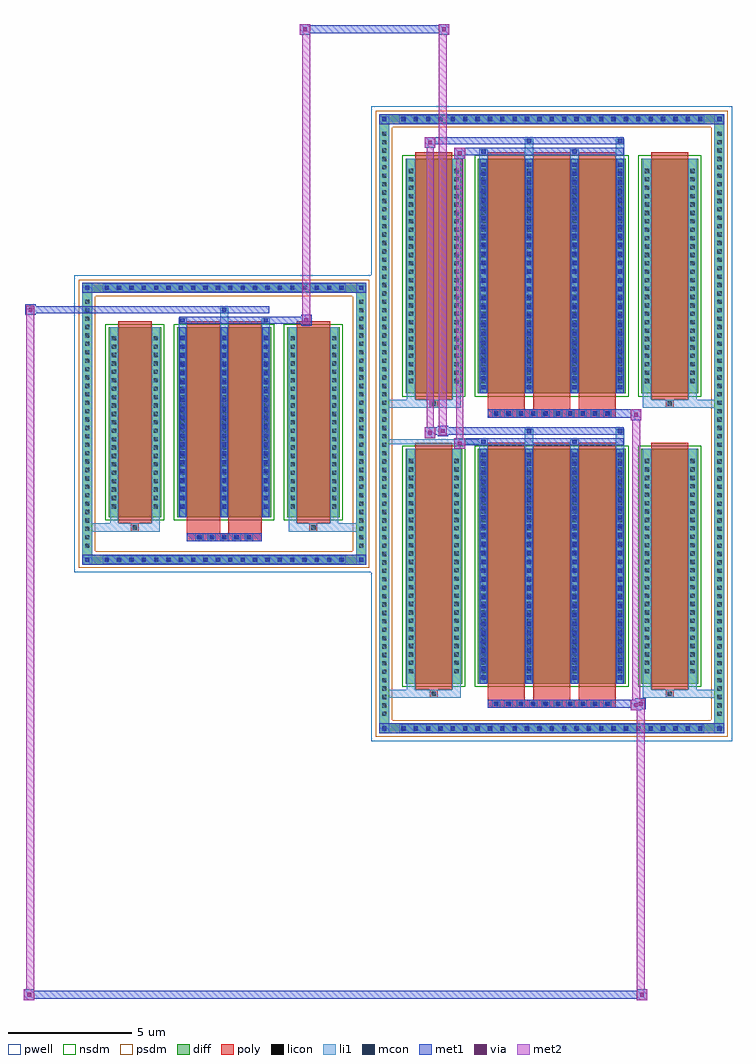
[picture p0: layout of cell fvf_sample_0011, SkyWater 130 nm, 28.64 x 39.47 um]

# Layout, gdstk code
import gdstk
lib = gdstk.Library(unit=1e-6, precision=1e-09)
def R(c, l, rs):  # rectangles x0, y0, x1, y1
    for r in rs: c.add(gdstk.rectangle(r[:2], r[2:], *l))
def A(c, l, x, y, w, h, nx, ny, dx, dy):  # array of equal rectangles
    R(c, l, [(x+i*dx, y+j*dy, x+i*dx+w, y+j*dy+h) for i in range(nx) for j in range(ny)])
def P(c, l, *ps):  # polygons
    for p in ps: c.add(gdstk.Polygon(p, *l))
pwell = (64, 44)
diff = (65, 20)
poly = (66, 20)
licon = (66, 44)
li1 = (67, 20)
mcon = (67, 44)
met1 = (68, 20)
via = (68, 44)
met2 = (69, 20)
nsdm = (93, 44)
psdm = (94, 20)

fvf_sample_0011 = lib.new_cell('fvf_sample_0011')
R(fvf_sample_0011, pwell, [(5.955,-12.836,20.545,12.836), (-6.055,-6.01,6.055,6.01)])
A(fvf_sample_0011, diff, 7.045, -12.526, 0.41, 0.41, 25, 2, 0.5, 24.642)
A(fvf_sample_0011, diff, 6.265, -11.935, 0.41, 0.41, 1, 70, 0, 0.34)
A(fvf_sample_0011, diff, 19.825, -11.935, 0.41, 0.41, 1, 70, 0, 0.34)
A(fvf_sample_0011, diff, -4.955, -5.7, 0.41, 0.41, 20, 2, 0.5, 10.99)
A(fvf_sample_0011, diff, -5.745, -5.135, 0.41, 0.41, 1, 30, 0, 0.34)
A(fvf_sample_0011, diff, 5.335, -5.135, 0.41, 0.41, 1, 30, 0, 0.34)
R(fvf_sample_0011, diff, [(7.045,-12.526,19.455,-12.116), (6.265,-11.935,6.675,11.935), (19.825,-11.935,20.235,11.935), (7.335,-10.505,9.625,-1.015), (10.265,-10.505,16.235,-1.015), (16.875,-10.505,19.165,-1.015), (-4.955,-5.7,4.955,-5.29), (-5.745,-5.135,-5.335,5.135), (5.335,-5.135,5.745,5.135), (-4.675,-3.778,-2.545,3.894), (-1.905,-3.778,1.905,3.894), (2.545,-3.778,4.675,3.894), (7.335,1.231,9.625,10.721), (10.265,1.231,16.235,10.721), (16.875,1.231,19.165,10.721), (-4.955,5.29,4.955,5.7), (7.045,12.116,19.455,12.526)])
P(fvf_sample_0011, diff, [(5.745,5.7),(-5.745,5.7),(-5.745,-5.29),(-5.335,-5.29),(-5.335,5.29),(5.335,5.29),(5.335,-5.29),(-5.335,-5.29),(-5.745,-5.29),(-5.745,-5.7),(5.745,-5.7)],
  [(20.235,12.526),(6.265,12.526),(6.265,-12.116),(6.675,-12.116),(6.675,12.116),(19.825,12.116),(19.825,-12.116),(6.675,-12.116),(6.265,-12.116),(6.265,-12.526),(20.235,-12.526)])
A(fvf_sample_0011, poly, 10.835, -11.486, 0.33, 0.33, 10, 2, 0.5, 11.736)
A(fvf_sample_0011, poly, 10.655, -11.156, 1.51, 0.401, 3, 2, 1.84, 11.736)
A(fvf_sample_0011, poly, 10.655, -10.755, 1.51, 9.99, 3, 2, 1.84, 11.736)
A(fvf_sample_0011, poly, -1.165, -4.76, 0.33, 0.33, 5, 1, 0.5, 0)
R(fvf_sample_0011, poly, [(10.655,-11.486,15.845,-11.156), (8.315,-11.085,8.645,-10.755), (8.315,-11.085,8.645,-10.755), (17.855,-11.085,18.185,-10.755), (17.855,-11.085,18.185,-10.755), (7.725,-10.755,9.235,-0.765), (17.265,-10.755,18.775,-0.765), (-1.515,-4.76,1.515,-4.43), (-1.515,-4.43,-0.165,-4.028), (0.165,-4.43,1.515,-4.028), (-3.775,-4.358,-3.445,-4.028), (-3.775,-4.358,-3.445,-4.028), (3.445,-4.358,3.775,-4.028), (3.445,-4.358,3.775,-4.028), (-4.285,-4.028,-2.935,4.144), (-1.515,-4.028,-0.165,4.144), (0.165,-4.028,1.515,4.144), (2.935,-4.028,4.285,4.144), (10.655,0.25,15.845,0.58), (8.315,0.651,8.645,0.981), (8.315,0.651,8.645,0.981), (17.855,0.651,18.185,0.981), (17.855,0.651,18.185,0.981), (7.725,0.981,9.235,10.971), (17.265,0.981,18.775,10.971)])
A(fvf_sample_0011, licon, 7.165, -12.406, 0.17, 0.17, 25, 2, 0.5, 24.642)
A(fvf_sample_0011, licon, 6.385, -11.815, 0.17, 0.17, 1, 70, 0, 0.34)
A(fvf_sample_0011, licon, 19.945, -11.815, 0.17, 0.17, 1, 70, 0, 0.34)
A(fvf_sample_0011, licon, 10.915, -11.406, 0.17, 0.17, 10, 2, 0.5, 11.736)
A(fvf_sample_0011, licon, 7.475, -10.095, 0.17, 0.17, 1, 26, 0, 0.34)
A(fvf_sample_0011, licon, 9.315, -10.095, 0.17, 0.17, 1, 26, 0, 0.34)
A(fvf_sample_0011, licon, 10.405, -10.095, 0.17, 0.17, 4, 26, 1.84, 0.34)
A(fvf_sample_0011, licon, 17.015, -10.095, 0.17, 0.17, 1, 26, 0, 0.34)
A(fvf_sample_0011, licon, 18.855, -10.095, 0.17, 0.17, 1, 26, 0, 0.34)
A(fvf_sample_0011, licon, -4.835, -5.58, 0.17, 0.17, 20, 2, 0.5, 10.99)
A(fvf_sample_0011, licon, -5.625, -5.015, 0.17, 0.17, 1, 30, 0, 0.34)
A(fvf_sample_0011, licon, 5.455, -5.015, 0.17, 0.17, 1, 30, 0, 0.34)
A(fvf_sample_0011, licon, -1.085, -4.68, 0.17, 0.17, 5, 1, 0.5, 0)
A(fvf_sample_0011, licon, -4.535, -3.427, 0.17, 0.17, 1, 21, 0, 0.34)
A(fvf_sample_0011, licon, -2.855, -3.427, 0.17, 0.17, 1, 21, 0, 0.34)
A(fvf_sample_0011, licon, -1.765, -3.427, 0.17, 0.17, 3, 21, 1.68, 0.34)
A(fvf_sample_0011, licon, 2.685, -3.427, 0.17, 0.17, 1, 21, 0, 0.34)
A(fvf_sample_0011, licon, 4.365, -3.427, 0.17, 0.17, 1, 21, 0, 0.34)
A(fvf_sample_0011, licon, 7.475, 1.641, 0.17, 0.17, 1, 26, 0, 0.34)
A(fvf_sample_0011, licon, 9.315, 1.641, 0.17, 0.17, 1, 26, 0, 0.34)
A(fvf_sample_0011, licon, 10.405, 1.641, 0.17, 0.17, 4, 26, 1.84, 0.34)
A(fvf_sample_0011, licon, 17.015, 1.641, 0.17, 0.17, 1, 26, 0, 0.34)
A(fvf_sample_0011, licon, 18.855, 1.641, 0.17, 0.17, 1, 26, 0, 0.34)
R(fvf_sample_0011, licon, [(8.395,-11.005,8.565,-10.835), (17.935,-11.005,18.105,-10.835), (-3.695,-4.278,-3.525,-4.108), (3.525,-4.278,3.695,-4.108), (8.395,0.731,8.565,0.901), (17.935,0.731,18.105,0.901)])
A(fvf_sample_0011, li1, 7.085, -12.486, 0.33, 0.33, 25, 2, 0.5, 24.642)
A(fvf_sample_0011, li1, 6.305, -11.895, 0.33, 0.33, 1, 70, 0, 0.34)
A(fvf_sample_0011, li1, 19.865, -11.895, 0.33, 0.33, 1, 70, 0, 0.34)
A(fvf_sample_0011, li1, 10.835, -11.486, 0.33, 0.33, 10, 2, 0.5, 11.736)
A(fvf_sample_0011, li1, 10.325, -10.505, 0.33, 9.49, 4, 2, 1.84, 11.736)
A(fvf_sample_0011, li1, 10.405, -10.345, 0.17, 0.17, 4, 26, 1.84, 0.36)
A(fvf_sample_0011, li1, 10.405, -10.345, 0.17, 9.17, 4, 2, 1.84, 11.736)
A(fvf_sample_0011, li1, 7.395, -10.175, 0.33, 0.33, 1, 26, 0, 0.34)
A(fvf_sample_0011, li1, 9.235, -10.175, 0.33, 0.33, 1, 26, 0, 0.34)
A(fvf_sample_0011, li1, 10.325, -10.175, 0.33, 0.33, 4, 26, 1.84, 0.34)
A(fvf_sample_0011, li1, 16.935, -10.175, 0.33, 0.33, 1, 26, 0, 0.34)
A(fvf_sample_0011, li1, 18.775, -10.175, 0.33, 0.33, 1, 26, 0, 0.34)
A(fvf_sample_0011, li1, -4.915, -5.66, 0.33, 0.33, 20, 2, 0.5, 10.99)
A(fvf_sample_0011, li1, -5.705, -5.095, 0.33, 0.33, 1, 30, 0, 0.34)
A(fvf_sample_0011, li1, 5.375, -5.095, 0.33, 0.33, 1, 30, 0, 0.34)
A(fvf_sample_0011, li1, -1.165, -4.76, 0.33, 0.33, 5, 1, 0.5, 0)
A(fvf_sample_0011, li1, -1.845, -3.778, 0.33, 7.672, 3, 1, 1.68, 0)
A(fvf_sample_0011, li1, -4.615, -3.507, 0.33, 0.33, 1, 21, 0, 0.34)
A(fvf_sample_0011, li1, -2.935, -3.507, 0.33, 0.33, 1, 21, 0, 0.34)
A(fvf_sample_0011, li1, -1.845, -3.507, 0.33, 0.33, 3, 21, 1.68, 0.34)
A(fvf_sample_0011, li1, 2.605, -3.507, 0.33, 0.33, 1, 21, 0, 0.34)
A(fvf_sample_0011, li1, 4.285, -3.507, 0.33, 0.33, 1, 21, 0, 0.34)
A(fvf_sample_0011, li1, -1.765, -3.447, 0.17, 0.17, 3, 20, 1.68, 0.36)
A(fvf_sample_0011, li1, -1.765, -3.447, 0.17, 7.01, 3, 1, 1.68, 0)
A(fvf_sample_0011, li1, 10.405, 1.391, 0.17, 0.17, 4, 26, 1.84, 0.36)
A(fvf_sample_0011, li1, 7.395, 1.561, 0.33, 0.33, 1, 26, 0, 0.34)
A(fvf_sample_0011, li1, 9.235, 1.561, 0.33, 0.33, 1, 26, 0, 0.34)
A(fvf_sample_0011, li1, 10.325, 1.561, 0.33, 0.33, 4, 26, 1.84, 0.34)
A(fvf_sample_0011, li1, 16.935, 1.561, 0.33, 0.33, 1, 26, 0, 0.34)
A(fvf_sample_0011, li1, 18.775, 1.561, 0.33, 0.33, 1, 26, 0, 0.34)
R(fvf_sample_0011, li1, [(6.265,-12.526,6.675,-12.116), (19.825,-12.526,20.235,-12.116), (7.085,-12.486,19.415,-12.156), (6.385,-12.406,6.555,-12.236), (6.385,-12.406,6.555,-12.236), (19.945,-12.406,20.115,-12.236), (19.945,-12.406,20.115,-12.236), (6.265,-12.116,6.675,12.116), (19.825,-12.116,20.235,12.116), (6.265,-11.085,8.315,-10.755), (7.395,-11.085,7.725,-10.505), (7.395,-11.085,8.315,-10.755), (8.315,-11.085,8.645,-10.755), (8.645,-11.085,9.565,-10.755), (9.235,-11.085,9.565,-10.505), (16.935,-11.085,17.265,-10.505), (16.935,-11.085,17.855,-10.755), (17.855,-11.085,18.185,-10.755), (17.855,-11.085,20.235,-10.755), (18.185,-11.085,19.105,-10.755), (18.775,-11.085,19.105,-10.505), (7.395,-10.505,7.725,-1.015), (9.235,-10.505,9.565,-1.015), (16.935,-10.505,17.265,-1.015), (18.775,-10.505,19.105,-1.015), (-5.745,-5.7,-5.335,-5.29), (5.335,-5.7,5.745,-5.29), (-4.915,-5.66,4.915,-5.33), (-5.625,-5.58,-5.455,-5.41), (-5.625,-5.58,-5.455,-5.41), (5.455,-5.58,5.625,-5.41), (5.455,-5.58,5.625,-5.41), (-5.745,-5.29,-5.335,5.29), (5.335,-5.29,5.745,5.29), (-5.745,-4.358,-3.775,-4.028), (-4.615,-4.358,-3.775,-4.028), (-4.615,-4.358,-4.285,-3.778), (-3.775,-4.358,-3.445,-4.028), (-3.445,-4.358,-2.605,-4.028), (-2.935,-4.358,-2.605,-3.778), (2.605,-4.358,3.445,-4.028), (2.605,-4.358,2.935,-3.778), (3.445,-4.358,3.775,-4.028), (3.445,-4.358,5.745,-4.028), (3.775,-4.358,4.615,-4.028), (4.285,-4.358,4.615,-3.778), (-4.615,-3.778,-4.285,3.894), (-2.935,-3.778,-2.605,3.894), (2.605,-3.778,2.935,3.894), (4.285,-3.778,4.615,3.894), (10.325,-1.015,10.655,-0.64), (12.165,-1.015,12.495,-0.21), (14.005,-1.015,14.335,-0.64), (15.845,-1.015,16.175,-0.21), (10.345,-0.87,10.635,-0.58), (6.265,-0.825,10.345,-0.625), (10.405,-0.81,10.575,-0.64), (10.405,-0.81,10.575,-0.64), (14.085,-0.81,14.255,-0.64), (12.245,-0.38,12.415,-0.21), (15.925,-0.38,16.095,-0.21), (6.265,0.651,8.315,0.981), (7.395,0.651,7.725,1.231), (7.395,0.651,8.315,0.981), (8.315,0.651,8.645,0.981), (8.645,0.651,9.565,0.981), (9.235,0.651,9.565,1.231), (16.935,0.651,17.265,1.231), (16.935,0.651,17.855,0.981), (17.855,0.651,18.185,0.981), (17.855,0.651,20.235,0.981), (18.185,0.651,19.105,0.981), (18.775,0.651,19.105,1.231), (7.395,1.231,7.725,10.721), (9.235,1.231,9.565,10.721), (16.935,1.231,17.265,10.721), (18.775,1.231,19.105,10.721), (-1.845,3.894,-1.515,4.269), (-0.165,3.894,0.165,4.699), (1.515,3.894,1.845,4.269), (-1.765,4.099,-1.595,4.269), (1.595,4.099,1.765,4.269), (-0.085,4.529,0.085,4.699), (-5.745,5.29,-5.335,5.7), (5.335,5.29,5.745,5.7), (-4.915,5.33,4.915,5.66), (-5.625,5.41,-5.455,5.58), (-5.625,5.41,-5.455,5.58), (5.455,5.41,5.625,5.58), (5.455,5.41,5.625,5.58), (10.325,10.721,10.655,11.096), (12.165,10.721,12.495,11.526), (14.005,10.721,14.335,11.096), (15.845,10.721,16.175,11.526), (10.405,10.926,10.575,11.096), (14.085,10.926,14.255,11.096), (12.245,11.356,12.415,11.526), (15.925,11.356,16.095,11.526), (6.265,12.116,6.675,12.526), (19.825,12.116,20.235,12.526), (7.085,12.156,19.415,12.486), (6.385,12.236,6.555,12.406), (6.385,12.236,6.555,12.406), (19.945,12.236,20.115,12.406), (19.945,12.236,20.115,12.406)])
A(fvf_sample_0011, mcon, 7.165, -12.406, 0.17, 0.17, 25, 2, 0.5, 24.642)
A(fvf_sample_0011, mcon, 10.915, -11.406, 0.17, 0.17, 10, 2, 0.5, 11.736)
A(fvf_sample_0011, mcon, 10.405, -10.345, 0.17, 0.17, 4, 26, 1.84, 0.36)
A(fvf_sample_0011, mcon, -4.835, -5.58, 0.17, 0.17, 20, 2, 0.5, 10.99)
A(fvf_sample_0011, mcon, -1.085, -4.68, 0.17, 0.17, 5, 1, 0.5, 0)
A(fvf_sample_0011, mcon, -1.765, -3.447, 0.17, 0.17, 3, 20, 1.68, 0.36)
A(fvf_sample_0011, mcon, 10.405, 1.391, 0.17, 0.17, 4, 26, 1.84, 0.36)
R(fvf_sample_0011, mcon, [(6.385,-12.406,6.555,-12.236), (19.945,-12.406,20.115,-12.236), (-5.625,-5.58,-5.455,-5.41), (5.455,-5.58,5.625,-5.41), (10.405,-0.81,10.575,-0.64), (10.405,-0.81,10.575,-0.64), (14.085,-0.81,14.255,-0.64), (12.245,-0.38,12.415,-0.21), (15.925,-0.38,16.095,-0.21), (-1.765,4.099,-1.595,4.269), (1.595,4.099,1.765,4.269), (-0.085,4.529,0.085,4.699), (-5.625,5.41,-5.455,5.58), (5.455,5.41,5.625,5.58), (10.405,10.926,10.575,11.096), (14.085,10.926,14.255,11.096), (12.245,11.356,12.415,11.526), (15.925,11.356,16.095,11.526), (6.385,12.236,6.555,12.406), (19.945,12.236,20.115,12.406)])
A(fvf_sample_0011, met1, 7.105, -12.466, 0.29, 0.29, 25, 2, 0.5, 24.642)
A(fvf_sample_0011, met1, 10.855, -11.466, 0.29, 0.29, 10, 2, 0.5, 11.736)
A(fvf_sample_0011, met1, 10.345, -10.505, 0.29, 9.49, 4, 2, 1.84, 11.736)
A(fvf_sample_0011, met1, 10.345, -10.405, 0.29, 0.29, 4, 26, 1.84, 0.36)
A(fvf_sample_0011, met1, -4.895, -5.64, 0.29, 0.29, 20, 2, 0.5, 10.99)
A(fvf_sample_0011, met1, -1.145, -4.74, 0.29, 0.29, 5, 1, 0.5, 0)
A(fvf_sample_0011, met1, -1.825, -3.778, 0.29, 7.672, 3, 1, 1.68, 0)
A(fvf_sample_0011, met1, -1.825, -3.507, 0.29, 0.29, 3, 20, 1.68, 0.36)
A(fvf_sample_0011, met1, 10.345, 1.331, 0.29, 0.29, 4, 26, 1.84, 0.36)
R(fvf_sample_0011, met1, [(-8.1,-23.304,-7.67,-22.874), (16.68,-23.304,17.11,-22.874), (-8.1,-23.254,17.11,-22.924), (-8.1,-22.924,-7.67,-22.874), (16.68,-22.924,17.11,-22.874), (6.265,-12.526,6.675,-12.116), (6.265,-12.526,6.675,-12.116), (6.675,-12.526,19.825,-12.116), (19.825,-12.526,20.235,-12.116), (19.825,-12.526,20.235,-12.116), (6.325,-12.466,6.615,-12.176), (19.885,-12.466,20.175,-12.176), (16.445,-11.586,16.875,-11.156), (16.63,-11.536,17.06,-11.106), (10.655,-11.486,15.845,-11.156), (15.845,-11.486,16.63,-11.156), (15.845,-11.486,16.875,-11.156), (-5.745,-5.7,-5.335,-5.29), (-5.745,-5.7,-5.335,-5.29), (-5.335,-5.7,5.335,-5.29), (5.335,-5.7,5.745,-5.29), (5.335,-5.7,5.745,-5.29), (-5.685,-5.64,-5.395,-5.35), (5.395,-5.64,5.685,-5.35), (-1.515,-4.76,1.515,-4.43), (9.315,-1.01,9.745,-0.58), (9.315,-0.87,10.345,-0.58), (10.345,-0.87,10.635,-0.58), (10.345,-0.87,10.635,-0.58), (10.345,-0.87,16.155,-0.58), (14.025,-0.87,14.315,-0.58), (8.115,-0.58,8.545,-0.15), (8.63,-0.51,9.06,-0.08), (8.115,-0.44,10.345,-0.15), (9.06,-0.44,10.345,-0.15), (10.345,-0.44,16.155,-0.15), (12.185,-0.44,12.475,-0.15), (15.865,-0.44,16.155,-0.15), (16.445,0.15,16.875,0.58), (10.655,0.25,15.845,0.58), (15.845,0.25,16.875,0.58), (3.11,3.969,3.54,4.399), (-1.825,4.039,-1.535,4.329), (-1.825,4.039,1.825,4.329), (1.535,4.039,1.825,4.329), (1.825,4.039,3.11,4.329), (-8.05,4.399,-7.62,4.829), (-7.62,4.469,-1.825,4.759), (-1.825,4.469,1.825,4.759), (-0.145,4.469,0.145,4.759), (-5.745,5.29,-5.335,5.7), (-5.745,5.29,-5.335,5.7), (-5.335,5.29,5.335,5.7), (5.335,5.29,5.745,5.7), (5.335,5.29,5.745,5.7), (-5.685,5.35,-5.395,5.64), (5.395,5.35,5.685,5.64), (9.315,10.726,9.745,11.156), (9.315,10.866,10.345,11.156), (10.345,10.866,10.635,11.156), (10.345,10.866,16.155,11.156), (14.025,10.866,14.315,11.156), (8.115,11.156,8.545,11.586), (8.115,11.296,10.345,11.586), (10.345,11.296,16.155,11.586), (12.185,11.296,12.475,11.586), (15.865,11.296,16.155,11.586), (6.265,12.116,6.675,12.526), (6.265,12.116,6.675,12.526), (6.675,12.116,19.825,12.526), (19.825,12.116,20.235,12.526), (19.825,12.116,20.235,12.526), (6.325,12.176,6.615,12.466), (19.885,12.176,20.175,12.466), (3.06,15.737,3.49,16.167), (8.68,15.737,9.11,16.167), (3.06,15.787,9.11,16.117), (3.06,16.117,3.49,16.167), (8.68,16.117,9.11,16.167)])
R(fvf_sample_0011, via, [(-7.96,-23.164,-7.81,-23.014), (16.82,-23.164,16.97,-23.014), (16.585,-11.446,16.735,-11.296), (16.77,-11.396,16.92,-11.246), (9.455,-0.87,9.605,-0.72), (8.255,-0.44,8.405,-0.29), (8.77,-0.37,8.92,-0.22), (16.585,0.29,16.735,0.44), (3.25,4.109,3.4,4.259), (-7.91,4.539,-7.76,4.689), (9.455,10.866,9.605,11.016), (8.255,11.296,8.405,11.446), (3.2,15.877,3.35,16.027), (8.82,15.877,8.97,16.027)])
R(fvf_sample_0011, met2, [(-8.1,-23.304,-7.67,-22.874), (-8,-23.304,-7.67,4.449), (16.68,-23.304,17.11,-22.874), (16.68,-23.304,17.01,-11.486), (-8.05,-23.254,-7.72,-22.924), (16.73,-23.254,17.06,-22.924), (16.445,-11.586,16.875,-11.156), (16.495,-11.586,16.825,0.58), (16.825,-11.586,16.875,-11.156), (16.495,-11.536,16.825,-11.206), (16.68,-11.486,17.01,-11.156), (9.315,-1.01,9.745,-0.58), (9.385,-1.01,9.675,11.156), (9.675,-1.01,9.745,-0.58), (9.365,-0.96,9.695,-0.63), (8.115,-0.58,8.545,-0.15), (8.185,-0.58,8.475,11.586), (8.475,-0.58,8.545,-0.15), (8.165,-0.53,8.495,-0.2), (8.68,-0.46,9.01,-0.13), (8.68,-0.13,9.01,16.167), (16.445,0.15,16.875,0.58), (16.825,0.15,16.875,0.58), (16.495,0.2,16.825,0.53), (3.16,4.019,3.49,4.349), (3.16,4.349,3.49,16.167), (-8,4.449,-7.67,4.779), (9.315,10.726,9.745,11.156), (9.675,10.726,9.745,11.156), (9.365,10.776,9.695,11.106), (8.115,11.156,8.545,11.586), (8.475,11.156,8.545,11.586), (8.165,11.206,8.495,11.536), (3.06,15.737,3.49,16.167), (8.68,15.737,9.11,16.167), (3.11,15.787,3.44,16.117), (8.73,15.787,9.06,16.117)])
R(fvf_sample_0011, nsdm, [(7.205,-10.635,9.755,-0.885), (10.135,-10.635,16.365,-0.885), (16.745,-10.635,19.295,-0.885), (-4.805,-3.908,-2.415,4.024), (-2.035,-3.908,2.035,4.024), (2.415,-3.908,4.805,4.024), (7.205,1.101,9.755,10.851), (10.135,1.101,16.365,10.851), (16.745,1.101,19.295,10.851)])
P(fvf_sample_0011, psdm, [(5.875,5.83),(-5.875,5.83),(-5.875,-5.16),(-5.205,-5.16),(-5.205,5.16),(5.205,5.16),(5.205,-5.16),(-5.205,-5.16),(-5.875,-5.16),(-5.875,-5.83),(5.875,-5.83)],
  [(20.365,12.656),(6.135,12.656),(6.135,-11.986),(6.805,-11.986),(6.805,11.986),(19.695,11.986),(19.695,-11.986),(6.805,-11.986),(6.135,-11.986),(6.135,-12.656),(20.365,-12.656)])

lib.write_gds('fvf_sample_0011.gds')
